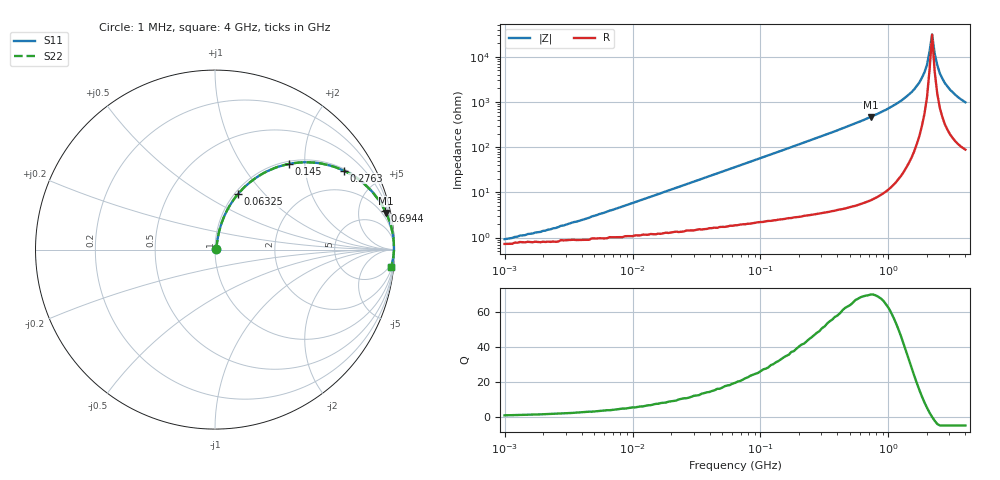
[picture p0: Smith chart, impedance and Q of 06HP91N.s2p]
# MHz S MA R 50
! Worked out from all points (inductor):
!   181 points, 1 MHz to 4 GHz, reference 50 ohm
!   read as one part in series: L = 90.9 nH near 5.016 MHz
!   highest Q = 70.1 at 727.2 MHz (marker M1), where L = 102 nH
!   self-resonance near 2.098 GHz
!   S11 on the Smith chart (normalised r, x): 1 MHz: 1.01, +0.01; 63.25 MHz: 1.04, +0.72; 145 MHz: 1.05, +1.67; 276.3 MHz: 1.07, +3.21; 694.4 MHz: 1.14, +8.82; 4 GHz: 3, -20
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1  0.009283 37.4  0.993 -0.3  0.993 -0.3  0.009283 37.4
1.906  0.013 53.1  0.992 -0.6  0.992 -0.6  0.013 53.1
4.172  0.025 67.8  0.991 -1.4  0.991 -1.4  0.025 67.8
16.623  0.094 77.2  0.984 -5.4  0.984 -5.4  0.094 77.2
63.246  0.335 67.5  0.925 -19.6  0.925 -19.6  0.335 67.5
144.956  0.631 49.2  0.757 -39.1  0.757 -39.1  0.631 49.2
263.867  0.829 32.8  0.542 -56.0  0.542 -56.0  0.829 32.8
276.31  0.841 31.6  0.524 -57.2  0.524 -57.2  0.841 31.6
438.037  0.929 20.8  0.356 -68.2  0.356 -68.2  0.929 20.8
694.425  0.972 12.7  0.22 -76.5  0.22 -76.5  0.972 12.7
727.171  0.975 12.0  0.209 -77.1  0.209 -77.1  0.975 12.0
1003.961  0.989 7.8  0.136 -81.3  0.136 -81.3  0.989 7.8
1386.107  0.995 4.3  0.075 -84.1  0.075 -84.1  0.995 4.3
1745.235  0.997 2.1  0.037 -84.2  0.037 -84.2  0.997 2.1
2003.957  0.997 0.8  0.015 -78.2  0.015 -78.2  0.997 0.8
2098.456  0.997 0.4  0.00753 -66.5  0.00753 -66.5  0.997 0.4
2197.411  0.997 -0.0  0.00318 7.2  0.00318 7.2  0.997 -0.0
2301.032  0.997 -0.4  0.008428 65.9  0.008428 65.9  0.997 -0.4
2409.54  0.996 -0.9  0.015 75.6  0.015 75.6  0.996 -0.9
2642.147  0.995 -1.7  0.03 80.2  0.03 80.2  0.995 -1.7
3033.831  0.993 -3.0  0.053 81.1  0.053 81.1  0.993 -3.0
4000  0.986 -5.7  0.1 79.1  0.1 79.1  0.986 -5.7
